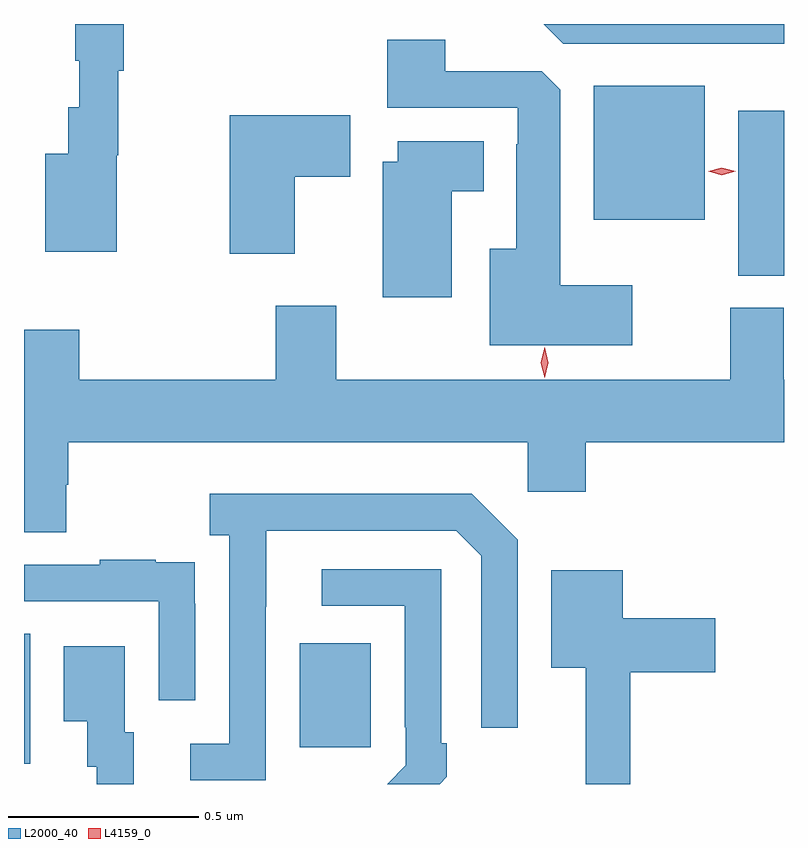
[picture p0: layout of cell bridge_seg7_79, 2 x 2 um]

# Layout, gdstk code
import gdstk
lib = gdstk.Library(unit=1e-6, precision=1e-09)
def R(c, l, rs):  # rectangles x0, y0, x1, y1
    for r in rs: c.add(gdstk.rectangle(r[:2], r[2:], *l))
def P(c, l, *ps):  # polygons
    for p in ps: c.add(gdstk.Polygon(p, *l))
L2000_40 = (2000, 40)
L4159_0 = (4159, 0)

bridge_seg7_79 = lib.new_cell('bridge_seg7_79')
R(bridge_seg7_79, L2000_40, [(1081.662,1035.733,1081.678,1036.076), (1082.387,1035.777,1082.575,1036.051), (1083.542,1037.018,1083.662,1037.452), (1083.161,1037.165,1083.454,1037.518)])
P(bridge_seg7_79, L2000_40, [(1083.662,1037.68),(1083.03,1037.68),(1083.081,1037.628),(1083.662,1037.628)],
  [(1081.906,1037.334),(1081.91,1037.334),(1081.91,1037.557),(1081.925,1037.557),(1081.925,1037.68),(1081.797,1037.68),(1081.797,1037.583),(1081.808,1037.583),(1081.808,1037.461),(1081.778,1037.461),(1081.778,1037.338),(1081.718,1037.338),(1081.718,1037.081),(1081.906,1037.081)],
  [(1083.262,1036.993),(1083.073,1036.993),(1083.073,1037.507),(1083.024,1037.556),(1082.77,1037.556),(1082.77,1037.639),(1082.618,1037.639),(1082.618,1037.46),(1082.961,1037.46),(1082.961,1037.363),(1082.957,1037.363),(1082.957,1037.089),(1082.888,1037.089),(1082.888,1036.835),(1083.262,1036.835)],
  [(1082.374,1037.278),(1082.521,1037.278),(1082.521,1037.44),(1082.204,1037.44),(1082.204,1037.075),(1082.374,1037.075)],
  [(1082.788,1037.24),(1082.872,1037.24),(1082.872,1037.371),(1082.645,1037.371),(1082.645,1037.317),(1082.606,1037.317),(1082.606,1036.961),(1082.788,1036.961)],
  [(1081.773,1036.467),(1081.778,1036.467),(1081.778,1036.58),(1082.988,1036.58),(1082.988,1036.449),(1083.14,1036.449),(1083.14,1036.58),(1083.662,1036.58),(1083.662,1036.744),(1083.661,1036.744),(1083.661,1036.933),(1083.521,1036.933),(1083.521,1036.744),(1082.484,1036.744),(1082.484,1036.939),(1082.324,1036.939),(1082.324,1036.744),(1081.808,1036.744),(1081.808,1036.876),(1081.662,1036.876),(1081.662,1036.342),(1081.773,1036.342)],
  [(1082.298,1036.147),(1082.299,1036.147),(1082.299,1036.347),(1082.799,1036.347),(1082.865,1036.281),(1082.865,1035.828),(1082.961,1035.828),(1082.961,1036.323),(1082.84,1036.444),(1082.151,1036.444),(1082.151,1036.334),(1082.202,1036.334),(1082.202,1035.786),(1082.1,1035.786),(1082.1,1035.69),(1082.298,1035.69)],
  [(1082.112,1036.154),(1082.111,1036.154),(1082.111,1036.263),(1082.009,1036.263),(1082.009,1036.27),(1081.861,1036.27),(1081.861,1036.257),(1081.662,1036.257),(1081.662,1036.161),(1082.016,1036.161),(1082.016,1035.9),(1082.112,1035.9)],
  [(1082.775,1035.699),(1082.775,1035.787),(1082.76,1035.787),(1082.76,1036.245),(1082.445,1036.245),(1082.445,1036.149),(1082.664,1036.149),(1082.664,1035.829),(1082.667,1035.829),(1082.667,1035.729),(1082.618,1035.68),(1082.756,1035.68)],
  [(1083.257,1035.974),(1083.481,1035.974),(1083.481,1036.116),(1083.238,1036.116),(1083.238,1036.243),(1083.05,1036.243),(1083.05,1035.986),(1083.14,1035.986),(1083.14,1035.68),(1083.257,1035.68)],
  [(1081.951,1035.816),(1081.927,1035.816),(1081.927,1036.042),(1081.766,1036.042),(1081.766,1035.845),(1081.829,1035.845),(1081.829,1035.726),(1081.854,1035.726),(1081.854,1035.68),(1081.951,1035.68)])
P(bridge_seg7_79, L4159_0, [(1083.498,1037.282),(1083.462,1037.292),(1083.461,1037.293),(1083.462,1037.293),(1083.498,1037.302),(1083.535,1037.293),(1083.535,1037.292),(1083.535,1037.292)],
  [(1083.032,1036.749),(1083.032,1036.749),(1083.022,1036.789),(1083.032,1036.83),(1083.032,1036.83),(1083.033,1036.83),(1083.042,1036.789),(1083.032,1036.749)])

lib.write_gds('bridge_seg7_79.gds')
